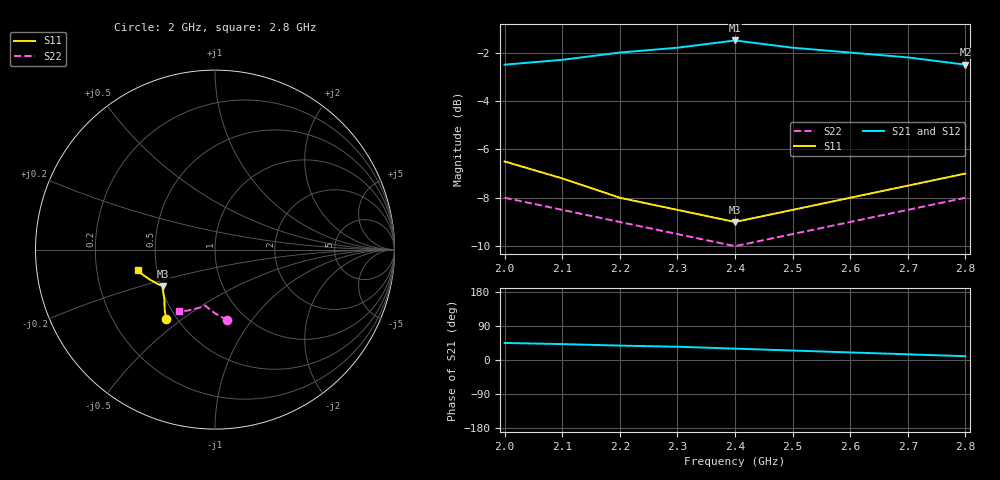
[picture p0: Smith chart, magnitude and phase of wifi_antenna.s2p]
! # T062: Example files - Sample device S2P
! # Example RF device for impedance matching demonstration
! # Simulated antenna at 2.4 GHz WiFi band
! # Input impedance: ~(35 - j25) Ω at center frequency
# Hz S DB R 50
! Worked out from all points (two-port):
!   9 points, 2 GHz to 2.8 GHz, reference 50 ohm
!   highest |S21| = -1.50 dB at 2.4 GHz (marker M1); lowest = -2.5 dB at 2.8 GHz (marker M2)
!   |S21| within 3 dB of the highest: start of sweep to end of sweep
!   lowest |S11| = -9.0 dB at 2.4 GHz (marker M3), VSWR 2.10, Z = 25.6 - j11.9 ohm
!   |S11| at or under -10 dB: nowhere
!   |S22| runs from -10.0 to -8.0 dB; largest |S21 - S12| = 0
2e9  -6.50 -125.0  -2.50 45.0  -2.50 45.0  -8.00 -80.0
2.1e9  -7.20 -130.0  -2.30 42.0  -2.30 42.0  -8.50 -85.0
2.2e9  -8.00 -135.0  -2.00 38.0  -2.00 38.0  -9.00 -90.0
2.3e9  -8.50 -140.0  -1.80 35.0  -1.80 35.0  -9.50 -95.0
2.4e9  -9.00 -145.0  -1.50 30.0  -1.50 30.0  -10.00 -100.0
2.5e9  -8.50 -150.0  -1.80 25.0  -1.80 25.0  -9.50 -105.0
2.6e9  -8.00 -155.0  -2.00 20.0  -2.00 20.0  -9.00 -110.0
2.7e9  -7.50 -160.0  -2.20 15.0  -2.20 15.0  -8.50 -115.0
2.8e9  -7.00 -165.0  -2.50 10.0  -2.50 10.0  -8.00 -120.0
